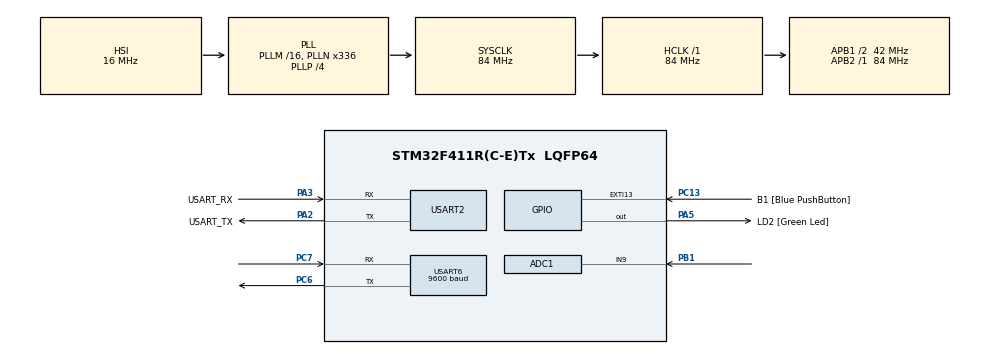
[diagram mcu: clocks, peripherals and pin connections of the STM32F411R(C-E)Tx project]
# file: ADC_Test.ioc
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ADC1.Channel-1\#ChannelRegularConversion=ADC_CHANNEL_9
ADC1.NbrOfConversionFlag=1
ADC1.Rank-1\#ChannelRegularConversion=1
ADC1.Resolution=ADC_RESOLUTION_8B
ADC1.SamplingTime-1\#ChannelRegularConversion=ADC_SAMPLETIME_15CYCLES
ADC1.ScanConvMode=ENABLE
ADC1.master=1
Mcu.Family=STM32F4
Mcu.Name=STM32F411R(C-E)Tx
Mcu.Package=LQFP64
NVIC.PriorityGroup=NVIC_PRIORITYGROUP_0
PA13.GPIO_Label=TMS
PA13.Mode=Serial_Wire
PA13.Signal=SYS_JTMS-SWDIO
PA14.GPIO_Label=TCK
PA14.Mode=Serial_Wire
PA14.Signal=SYS_JTCK-SWCLK
PA2.GPIO_Label=USART_TX
PA2.Mode=Asynchronous
PA2.Signal=USART2_TX
PA3.GPIO_Label=USART_RX
PA3.Mode=Asynchronous
PA3.Signal=USART2_RX
PA5.GPIO_Label=LD2 [Green Led]
PA5.Signal=GPIO_Output
PB1.Signal=ADCx_IN9
PB3.GPIO_Label=SWO
PB3.Signal=SYS_JTDO-SWO
PC13-ANTI_TAMP.GPIO_Label=B1 [Blue PushButton]
PC13-ANTI_TAMP.GPIO_ModeDefaultEXTI=GPIO_MODE_IT_FALLING
PC13-ANTI_TAMP.Signal=GPXTI13
PC14-OSC32_IN.Mode=LSE-External-Oscillator
PC14-OSC32_IN.Signal=RCC_OSC32_IN
PC15-OSC32_OUT.Mode=LSE-External-Oscillator
PC15-OSC32_OUT.Signal=RCC_OSC32_OUT
PC6.Mode=Asynchronous
PC6.Signal=USART6_TX
PC7.Mode=Asynchronous
PC7.Signal=USART6_RX
PH0\ -\ OSC_IN.Mode=HSE-External-Clock-Source
PH0\ -\ OSC_IN.Signal=RCC_OSC_IN
PH1\ -\ OSC_OUT.Mode=HSE-External-Clock-Source
PH1\ -\ OSC_OUT.Signal=RCC_OSC_OUT
ProjectManager.HeapSize=0x200
ProjectManager.StackSize=0x400
ProjectManager.TargetToolchain=STM32CubeIDE
RCC.48MHZClocksFreq_Value=84000000
RCC.AHBFreq_Value=84000000
RCC.APB1CLKDivider=RCC_HCLK_DIV2
RCC.APB1Freq_Value=42000000
RCC.APB1TimFreq_Value=84000000
RCC.APB2Freq_Value=84000000
RCC.APB2TimFreq_Value=84000000
RCC.CortexFreq_Value=84000000
RCC.FLatency-AdvancedSettings=FLASH_LATENCY_2
RCC.HCLKFreq_Value=84000000
RCC.HSE_VALUE=8000000
RCC.HSI_VALUE=16000000
RCC.PLLN=336
RCC.PLLP=RCC_PLLP_DIV4
RCC.SYSCLKFreq_VALUE=84000000
RCC.SYSCLKSource=RCC_SYSCLKSOURCE_PLLCLK
RCC.VCOOutputFreq_Value=336000000
SH.ADCx_IN9.0=ADC1_IN9,IN9
USART2.VirtualMode=VM_ASYNC
USART6.BaudRate=9600
USART6.Mode=MODE_TX
USART6.VirtualMode=VM_ASYNC
board=NUCLEO-F411RE

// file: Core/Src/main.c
/* USER CODE BEGIN Header */
/**
  ******************************************************************************
  * @file           : main.c
  * @brief          : Main program body
  ******************************************************************************
  * @attention
  *
  * Copyright (c) 2024 STMicroelectronics.
  * All rights reserved.
  *
  * This software is licensed under terms that can be found in the LICENSE file
  * in the root directory of this software component.
  * If no LICENSE file comes with this software, it is provided AS-IS.
  *
  ******************************************************************************
  */
/* USER CODE END Header */
#include "main.h"
#include <string.h>
#include <stdio.h>

ADC_HandleTypeDef hadc1;

UART_HandleTypeDef huart2;
UART_HandleTypeDef huart6;

void SystemClock_Config(void);
static void MX_GPIO_Init(void);
static void MX_USART2_UART_Init(void);
static void MX_ADC1_Init(void);
static void MX_USART6_UART_Init(void);
/* USER CODE BEGIN PFP */
static void ADC_Select_CH(int CH);
/* USER CODE END PFP */

/* USER CODE BEGIN 0 */
volatile uint8_t hcsr04_Rx_flag = 0;
volatile uint32_t first_edge = 0;
volatile uint32_t time_edge1 = 0;
volatile uint32_t time_edge2 = 0;

void ADC_Select_CH(int CH)
{
ADC_ChannelConfTypeDef sConfig = {0};
switch(CH)
{
case 0:
sConfig.Channel = ADC_CHANNEL_0;
sConfig.Rank = 1;
if (HAL_ADC_ConfigChannel(&hadc1, &sConfig) != HAL_OK)
{
Error_Handler();
}
break;
case 1:
sConfig.Channel = ADC_CHANNEL_1;
sConfig.Rank = 1;
if (HAL_ADC_ConfigChannel(&hadc1, &sConfig) != HAL_OK)
{
Error_Handler();
}
break;
case 2:
sConfig.Channel = ADC_CHANNEL_2;
sConfig.Rank = 1;
if (HAL_ADC_ConfigChannel(&hadc1, &sConfig) != HAL_OK)
{
Error_Handler();
}
break;
case 3:
sConfig.Channel = ADC_CHANNEL_3;
sConfig.Rank = 1;
if (HAL_ADC_ConfigChannel(&hadc1, &sConfig) != HAL_OK)
{
Error_Handler();
}
break;
case 4:
sConfig.Channel = ADC_CHANNEL_4;
sConfig.Rank = 1;
if (HAL_ADC_ConfigChannel(&hadc1, &sConfig) != HAL_OK)
{
Error_Handler();
}
break;
case 5:
sConfig.Channel = ADC_CHANNEL_5;
sConfig.Rank = 1;
if (HAL_ADC_ConfigChannel(&hadc1, &sConfig) != HAL_OK)
{
Error_Handler();
}
break;
case 6:
sConfig.Channel = ADC_CHANNEL_6;
sConfig.Rank = 1;
if (HAL_ADC_ConfigChannel(&hadc1, &sConfig) != HAL_OK)
{
Error_Handler();
}
break;
case 7:
sConfig.Channel = ADC_CHANNEL_7;
sConfig.Rank = 1;
if (HAL_ADC_ConfigChannel(&hadc1, &sConfig) != HAL_OK)
{
Error_Handler();
}
break;
case 8:
sConfig.Channel = ADC_CHANNEL_8;
sConfig.Rank = 1;
if (HAL_ADC_ConfigChannel(&hadc1, &sConfig) != HAL_OK)
{
Error_Handler();
}
break;
case 9:
sConfig.Channel = ADC_CHANNEL_9;
sConfig.Rank = 1;
if (HAL_ADC_ConfigChannel(&hadc1, &sConfig) != HAL_OK)
{
Error_Handler();
}
break;
case 10:
sConfig.Channel = ADC_CHANNEL_10;
sConfig.Rank = 1;
if (HAL_ADC_ConfigChannel(&hadc1, &sConfig) != HAL_OK)
{
Error_Handler();
}
break;
case 11:
sConfig.Channel = ADC_CHANNEL_11;
sConfig.Rank = 1;
if (HAL_ADC_ConfigChannel(&hadc1, &sConfig) != HAL_OK)
{
Error_Handler();
}
break;
case 12:
sConfig.Channel = ADC_CHANNEL_12;
sConfig.Rank = 1;
if (HAL_ADC_ConfigChannel(&hadc1, &sConfig) != HAL_OK)
{
Error_Handler();
}
break;
case 13:
sConfig.Channel = ADC_CHANNEL_13;
sConfig.Rank = 1;
if (HAL_ADC_ConfigChannel(&hadc1, &sConfig) != HAL_OK)
{
Error_Handler();
}
break;
case 14:
sConfig.Channel = ADC_CHANNEL_14;
sConfig.Rank = 1;
if (HAL_ADC_ConfigChannel(&hadc1, &sConfig) != HAL_OK)
{
Error_Handler();
}
break;
case 15:
sConfig.Channel = ADC_CHANNEL_15;
sConfig.Rank = 1;
if (HAL_ADC_ConfigChannel(&hadc1, &sConfig) != HAL_OK)
{
Error_Handler();
}
break;
}
}
/* USER CODE END 0 */

int main(void)
{
	uint8_t txd_message_buffer[64] = {0};
  /* USER CODE BEGIN 1 */

	// HCSR04 code to send out a pulse
	void HCSR04_TRIG_PULSE(void){
		HAL_GPIO_WritePin(GPIOC, TRIG_PIN_Pin, GPIO_PIN_SET);
		for(int j=0; j!=48; j= j+1){};
		HAL_GPIO_WritePin(GPIOC, TRIG_PIN_Pin, GPIO_PIN_RESET);
		HAL_Delay(30);
	}
	// end of pulse sending for distance sensor

  /* USER CODE END 1 */

  /* MCU Configuration--------------------------------------------------------*/

  /* Reset of all peripherals, Initializes the Flash interface and the Systick. */
  HAL_Init();

  /* Configure the system clock */
  SystemClock_Config();

  /* Initialize all configured peripherals */
  MX_GPIO_Init();
  MX_USART2_UART_Init();
  MX_ADC1_Init();
  MX_USART6_UART_Init();
  /* USER CODE BEGIN 2 */
  HAL_TIM_Base_Init(&htim3);
  HAL_TIM_Base_Start(&htim3);
  HAL_TIM_IC_Start_IT(&htim3, TIM_CHANNEL_1);
  /* USER CODE END 2 */

  /* Infinite loop */
  /* USER CODE BEGIN WHILE */
  HCSR04_TRIG_PULSE();
  while (1)
  {
	  // code for distance sensor
	  hcsr04_Rx_flag = 0;
	  first_edge = 0;
	  time_edge1 = 0;
	  time_edge2 = 0;
	  time_diff = 0;
	  distance = 0;

	  HCSR04_TRIG_PULSE();

	  while(hcsr04_Rx_flag == 0){};
	  time_diff = time_edge2-time_edge1;
	  distance = (int)(((float)time_diff)/304);
	  // time_diff = Pulse Width and distance is the distance

    /* USER CODE END WHILE */
	  ADC_Select_CH(9);
	  HAL_ADC_Start(&hadc1);
	  HAL_ADC_PollForConversion(&hadc1, 1000);
	  uint8_t ADC_CH9 = HAL_ADC_GetValue(&hadc1);
	  HAL_ADC_Stop(&hadc1);

	  sprintf((char*)txd_message_buffer, "Digitized value: %d \r\n", ADC_CH9);
	  HAL_UART_Transmit(&huart6, txd_message_buffer, strlen((char*)txd_message_buffer),1000);
	  HAL_Delay(1000);
  }
}

void SystemClock_Config(void)
{
  RCC_OscInitTypeDef RCC_OscInitStruct = {0};
  RCC_ClkInitTypeDef RCC_ClkInitStruct = {0};

  /** Configure the main internal regulator output voltage
  */
  __HAL_RCC_PWR_CLK_ENABLE();
  __HAL_PWR_VOLTAGESCALING_CONFIG(PWR_REGULATOR_VOLTAGE_SCALE1);

  /** Initializes the RCC Oscillators according to the specified parameters
  * in the RCC_OscInitTypeDef structure.
  */
  RCC_OscInitStruct.OscillatorType = RCC_OSCILLATORTYPE_HSI;
  RCC_OscInitStruct.HSIState = RCC_HSI_ON;
  RCC_OscInitStruct.HSICalibrationValue = RCC_HSICALIBRATION_DEFAULT;
  RCC_OscInitStruct.PLL.PLLState = RCC_PLL_ON;
  RCC_OscInitStruct.PLL.PLLSource = RCC_PLLSOURCE_HSI;
  RCC_OscInitStruct.PLL.PLLM = 16;
  RCC_OscInitStruct.PLL.PLLN = 336;
  RCC_OscInitStruct.PLL.PLLP = RCC_PLLP_DIV4;
  RCC_OscInitStruct.PLL.PLLQ = 4;
  if (HAL_RCC_OscConfig(&RCC_OscInitStruct) != HAL_OK)
  {
    Error_Handler();
  }

  /** Initializes the CPU, AHB and APB buses clocks
  */
  RCC_ClkInitStruct.ClockType = RCC_CLOCKTYPE_HCLK|RCC_CLOCKTYPE_SYSCLK
                              |RCC_CLOCKTYPE_PCLK1|RCC_CLOCKTYPE_PCLK2;
  RCC_ClkInitStruct.SYSCLKSource = RCC_SYSCLKSOURCE_PLLCLK;
  RCC_ClkInitStruct.AHBCLKDivider = RCC_SYSCLK_DIV1;
  RCC_ClkInitStruct.APB1CLKDivider = RCC_HCLK_DIV2;
  RCC_ClkInitStruct.APB2CLKDivider = RCC_HCLK_DIV1;

  if (HAL_RCC_ClockConfig(&RCC_ClkInitStruct, FLASH_LATENCY_2) != HAL_OK)
  {
    Error_Handler();
  }
}

static void MX_ADC1_Init(void)
{

  ADC_ChannelConfTypeDef sConfig = {0};

  /** Configure the global features of the ADC (Clock, Resolution, Data Alignment and number of conversion)
  */
  hadc1.Instance = ADC1;
  hadc1.Init.ClockPrescaler = ADC_CLOCK_SYNC_PCLK_DIV4;
  hadc1.Init.Resolution = ADC_RESOLUTION_8B;
  hadc1.Init.ScanConvMode = ENABLE;
  hadc1.Init.ContinuousConvMode = DISABLE;
  hadc1.Init.DiscontinuousConvMode = DISABLE;
  hadc1.Init.ExternalTrigConvEdge = ADC_EXTERNALTRIGCONVEDGE_NONE;
  hadc1.Init.ExternalTrigConv = ADC_SOFTWARE_START;
  hadc1.Init.DataAlign = ADC_DATAALIGN_RIGHT;
  hadc1.Init.NbrOfConversion = 1;
  hadc1.Init.DMAContinuousRequests = DISABLE;
  hadc1.Init.EOCSelection = ADC_EOC_SINGLE_CONV;
  if (HAL_ADC_Init(&hadc1) != HAL_OK)
  {
    Error_Handler();
  }

  /** Configure for the selected ADC regular channel its corresponding rank in the sequencer and its sample time.
  */
  sConfig.Channel = ADC_CHANNEL_9;
  sConfig.Rank = 1;
  sConfig.SamplingTime = ADC_SAMPLETIME_15CYCLES;
  if (HAL_ADC_ConfigChannel(&hadc1, &sConfig) != HAL_OK)
  {
    Error_Handler();
  }

}

static void MX_USART2_UART_Init(void)
{

  huart2.Instance = USART2;
  huart2.Init.BaudRate = 115200;
  huart2.Init.WordLength = UART_WORDLENGTH_8B;
  huart2.Init.StopBits = UART_STOPBITS_1;
  huart2.Init.Parity = UART_PARITY_NONE;
  huart2.Init.Mode = UART_MODE_TX_RX;
  huart2.Init.HwFlowCtl = UART_HWCONTROL_NONE;
  huart2.Init.OverSampling = UART_OVERSAMPLING_16;
  if (HAL_UART_Init(&huart2) != HAL_OK)
  {
    Error_Handler();
  }

}

static void MX_USART6_UART_Init(void)
{

  huart6.Instance = USART6;
  huart6.Init.BaudRate = 9600;
  huart6.Init.WordLength = UART_WORDLENGTH_8B;
  huart6.Init.StopBits = UART_STOPBITS_1;
  huart6.Init.Parity = UART_PARITY_NONE;
  huart6.Init.Mode = UART_MODE_TX;
  huart6.Init.HwFlowCtl = UART_HWCONTROL_NONE;
  huart6.Init.OverSampling = UART_OVERSAMPLING_16;
  if (HAL_UART_Init(&huart6) != HAL_OK)
  {
    Error_Handler();
  }

}

static void MX_GPIO_Init(void)
{
  GPIO_InitTypeDef GPIO_InitStruct = {0};

  /* GPIO Ports Clock Enable */
  __HAL_RCC_GPIOC_CLK_ENABLE();
  __HAL_RCC_GPIOH_CLK_ENABLE();
  __HAL_RCC_GPIOA_CLK_ENABLE();
  __HAL_RCC_GPIOB_CLK_ENABLE();

  /*Configure GPIO pin Output Level */
  HAL_GPIO_WritePin(LD2_GPIO_Port, LD2_Pin, GPIO_PIN_RESET);

  /*Configure GPIO pin : B1_Pin */
  GPIO_InitStruct.Pin = B1_Pin;
  GPIO_InitStruct.Mode = GPIO_MODE_IT_FALLING;
  GPIO_InitStruct.Pull = GPIO_NOPULL;
  HAL_GPIO_Init(B1_GPIO_Port, &GPIO_InitStruct);

  /*Configure GPIO pin : LD2_Pin */
  GPIO_InitStruct.Pin = LD2_Pin;
  GPIO_InitStruct.Mode = GPIO_MODE_OUTPUT_PP;
  GPIO_InitStruct.Pull = GPIO_NOPULL;
  GPIO_InitStruct.Speed = GPIO_SPEED_FREQ_LOW;
  HAL_GPIO_Init(LD2_GPIO_Port, &GPIO_InitStruct);

}

void Error_Handler(void)
{
  __disable_irq();
  while (1)
  {
  }
}
